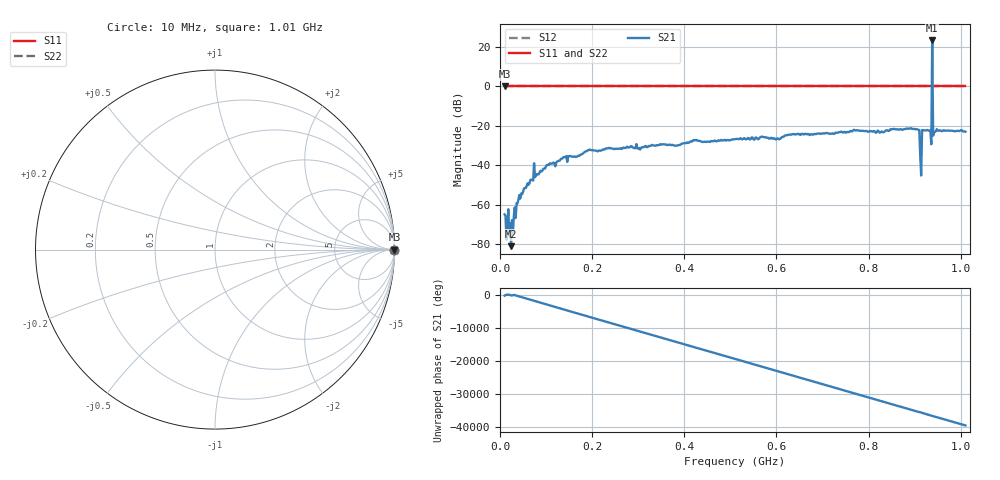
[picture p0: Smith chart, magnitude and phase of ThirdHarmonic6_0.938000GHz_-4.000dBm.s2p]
! 8/16/2025 6:31:44 AM
! C:\ANRITSUVNA\TEMP\TEMP.S2P
! CHANNEL.1
! TR.MEASUREMENT
! RAW.DATA
! RF.CORRECTION.OFF
! AVERAGING.OFF
! IF.BANDWIDTH: 5KHZ
! SWEEPTYPE:  FREQ.SWEEP(Linear)
! Reference Plane Port Info
! PORT:  PORT1  PORT2
! DISTANCE:  0  m  0  m
! TIME:  0  s  0  s
! PHASE.OFFSET:  0  deg.  0  deg.
! LOSS:  0  dB  0  dB
! REF.LOSS:  0  dB  0  dB
! REF.FREQ:  0  Hz  0  Hz
! Power Info
! POWER:  -20  dBm  -20  dBm
! EFF.POWER:  -20  dBm  -20  dBm
! SOURCE.ATTEN:  0  dB  0  dB
! TEST.ATTEN:  0  dB  0  dB
# GHZ S RI R 50.0
! FREQ.GHZ  S11RE  S11IM  S21RE  S21IM  S12RE  S12IM  S22RE  S22IM
!; PortSelection: Port_12
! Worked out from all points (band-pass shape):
!   501 points, 10 MHz to 1.01 GHz, reference 50 ohm
!   highest |S21| = 23.10 dB at 938 MHz (marker M1); lowest = -80.9 dB at 24 MHz (marker M2)
!   |S21| within 3 dB of the highest: 937.8857 MHz to 938.1247 MHz (238.9 kHz wide, 0.0255 % of centre)
!   lowest |S11| = 0.0 dB at 10 MHz (marker M3)
!   |S11| at or under -10 dB: nowhere
!   |S22| runs from 0.0 to 0.0 dB; largest |S21 - S12| = 15
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0.01  1 0  -0.000559 -0.000117  1 0  1 0
0.022  1 0  0.000152 0.000307  1 0  1 0
0.024  1 0  5.01e-05 -7.46e-05  1 0  1 0
0.04  1 0  0.00102 0.000896  1 0  1 0
0.07  1 0  -0.00165 -0.00391  1 0  1 0
0.14  1 0  0.00413 -0.0156  1 0  1 0
0.178  1 0  -0.0188 -0.00278  1 0  1 0
0.344  1 0  0.0321 -0.00476  1 0  1 0
0.51  1 0  -0.0441 0.012  1 0  1 0
0.678  1 0  -0.0189 -0.0566  1 0  1 0
0.844  1 0  0.046 0.0575  1 0  1 0
0.906  1 0  0.0363 0.0724  1 0  1 0
0.91  1 0  -0.00813 -0.0769  1 0  1 0
0.912  1 0  -0.0119 -0.0128  1 0  1 0
0.916  1 0  0.0723 0.0262  1 0  1 0
0.92  1 0  -0.0593 -0.0478  1 0  1 0
0.932  1 0  -0.00903 0.0744  1 0  1 0
0.934  1 0  0.0724 0.0232  1 0  1 0
0.938  1 0  -12.61 -6.735  1 0  1 0
0.942  1 0  0.0373 0.0549  1 0  1 0
0.944  1 0  0.0647 -0.0264  1 0  1 0
1.01  1 0  -0.0675 -0.0202  1 0  1 0
